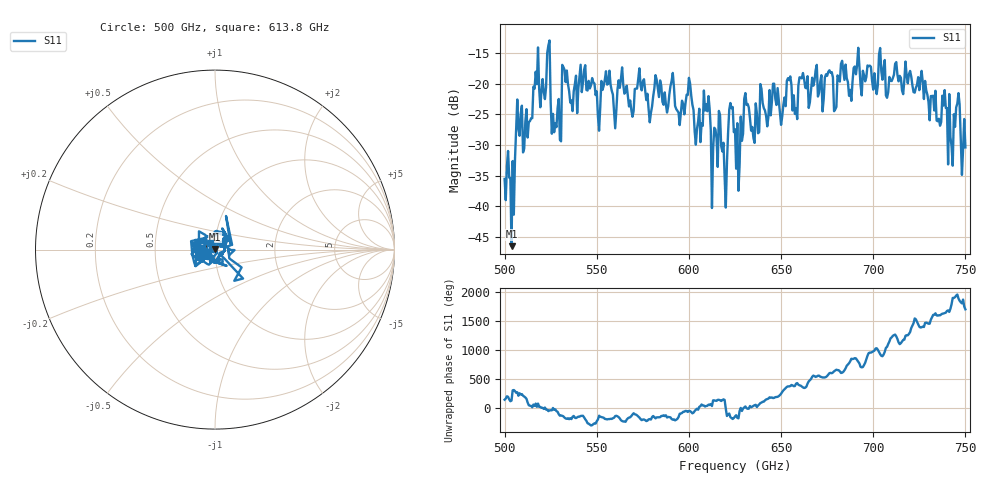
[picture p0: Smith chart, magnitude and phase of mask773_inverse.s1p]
!Created with skrf (http://scikit-rf.org).
# GHz S MA R 50.0
!freq magS11 angS11
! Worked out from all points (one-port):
!   401 points, 500 GHz to 750 GHz, reference 50 ohm
!   lowest |S11| = -46.5 dB at 503.8 GHz (marker M1), VSWR 1.01, Z = 49.7 + j0.397 ohm
!   |S11| at or under -10 dB: start of sweep to end of sweep
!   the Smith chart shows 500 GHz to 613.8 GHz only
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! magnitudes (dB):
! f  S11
! 500 GHz  -35.5
! 503.8 GHz  -46.5
! 507.5 GHz  -27.3
! 513.8 GHz  -26.1
! 516.9 GHz  -18.1
! 523.8 GHz  -13.8
! 526.9 GHz  -27.9
! 531.2 GHz  -16.9
! 532.5 GHz  -17.7
! 550.6 GHz  -25.3
! 562.5 GHz  -20.7
! 568.8 GHz  -24.3
! 590.6 GHz  -19.6
! 593.8 GHz  -24.4
! 609.4 GHz  -23.3
! 619.4 GHz  -35.2
! 622.5 GHz  -23.2
! 625 GHz  -27.4
! 626.2 GHz  -26.5
! 631.2 GHz  -23.5
! 634.4 GHz  -27.1
! 656.2 GHz  -24.4
! 687.5 GHz  -21.0
! 718.8 GHz  -20.0
! 738.8 GHz  -21.1
! 741.9 GHz  -28.7
! 745.6 GHz  -23.3
! 750 GHz  -30.4
